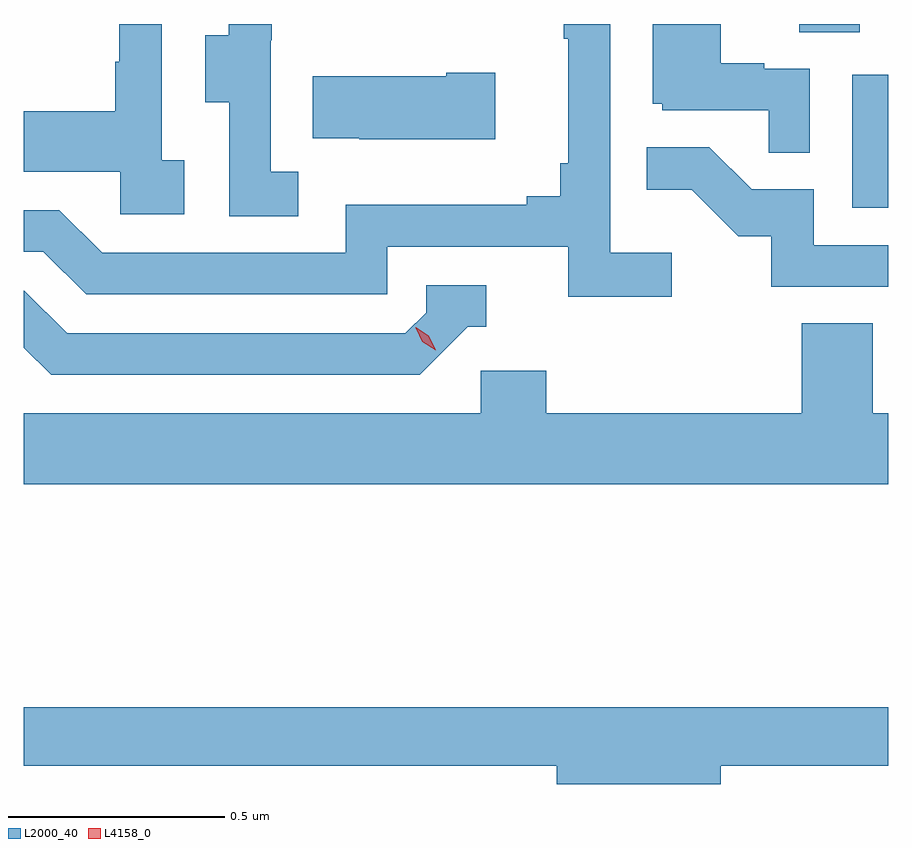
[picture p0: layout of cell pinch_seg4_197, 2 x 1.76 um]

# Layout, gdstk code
import gdstk
lib = gdstk.Library(unit=1e-6, precision=1e-09)
def R(c, l, rs):  # rectangles x0, y0, x1, y1
    for r in rs: c.add(gdstk.rectangle(r[:2], r[2:], *l))
def P(c, l, *ps):  # polygons
    for p in ps: c.add(gdstk.Polygon(p, *l))
L2000_40 = (2000, 40)
L4158_0 = (4158, 0)

pinch_seg4_197 = lib.new_cell('pinch_seg4_197')
R(pinch_seg4_197, L2000_40, [(962.564,829.428,962.647,829.735), (962.441,829.834,962.581,829.853)])
P(pinch_seg4_197, L2000_40, [(961.018,829.538),(960.966,829.538),(960.966,829.853),(960.868,829.853),(960.868,829.766),(960.858,829.766),(960.858,829.651),(960.647,829.651),(960.647,829.511),(960.87,829.511),(960.87,829.413),(961.018,829.413)],
  [(962.466,829.749),(962.36,829.749),(962.36,829.762),(962.26,829.762),(962.26,829.853),(962.102,829.853),(962.102,829.668),(962.124,829.668),(962.124,829.653),(962.371,829.653),(962.371,829.555),(962.466,829.555)],
  [(962.146,829.324),(962.004,829.324),(962.004,829.853),(961.896,829.853),(961.896,829.819),(961.907,829.819),(961.907,829.531),(961.888,829.531),(961.888,829.454),(961.811,829.454),(961.811,829.435),(961.392,829.435),(961.392,829.323),(960.828,829.323),(960.729,829.422),(960.647,829.422),(960.647,829.326),(960.692,829.326),(960.791,829.227),(961.488,829.227),(961.488,829.338),(961.907,829.338),(961.907,829.222),(962.146,829.222)],
  [(961.282,829.511),(961.218,829.511),(961.218,829.815),(961.22,829.815),(961.22,829.853),(961.121,829.853),(961.121,829.827),(961.067,829.827),(961.067,829.672),(961.122,829.672),(961.122,829.408),(961.282,829.408)],
  [(961.738,829.74),(961.625,829.74),(961.625,829.732),(961.315,829.732),(961.315,829.589),(961.423,829.589),(961.423,829.586),(961.738,829.586)],
  [(962.647,829.341),(962.475,829.341),(962.475,829.47),(962.331,829.47),(962.233,829.568),(962.089,829.568),(962.089,829.469),(962.193,829.469),(962.3,829.362),(962.377,829.362),(962.377,829.245),(962.647,829.245)],
  [(961.674,829.152),(961.717,829.152),(961.717,829.248),(961.578,829.248),(961.578,829.185),(961.53,829.137),(960.747,829.137),(960.648,829.236),(960.647,829.236),(960.647,829.104),(960.71,829.041),(961.563,829.041)],
  [(962.647,828.952),(962.612,828.952),(962.612,829.16),(962.447,829.16),(962.447,828.952),(961.856,828.952),(961.856,829.05),(961.704,829.05),(961.704,828.952),(960.647,828.952),(960.647,828.788),(962.647,828.788)],
  [(962.26,828.136),(962.647,828.136),(962.647,828.272),(960.647,828.272),(960.647,828.136),(961.88,828.136),(961.88,828.094),(962.26,828.094)])
P(pinch_seg4_197, L4158_0, [(961.6,829.098),(961.569,829.118),(961.554,829.15),(961.554,829.151),(961.554,829.151),(961.584,829.131),(961.6,829.098),(961.6,829.098)])

lib.write_gds('pinch_seg4_197.gds')
